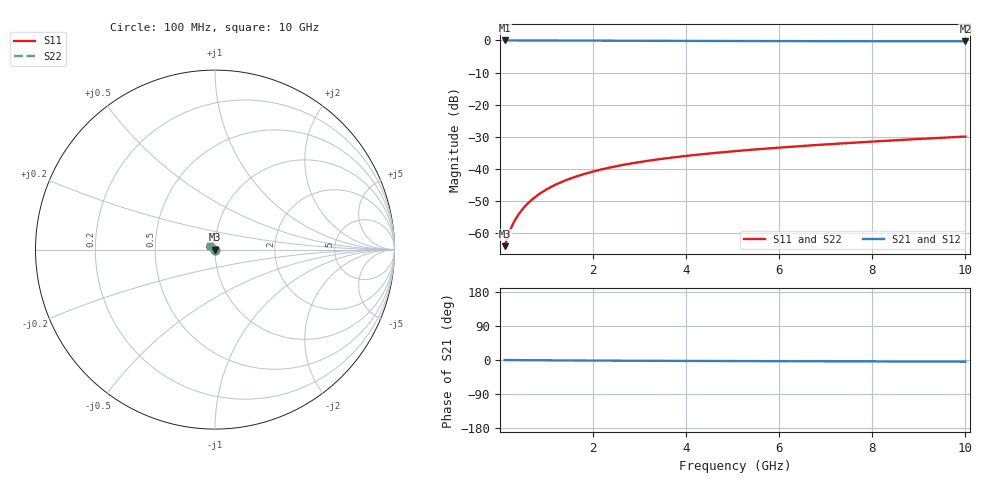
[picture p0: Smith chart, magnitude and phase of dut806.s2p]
! Touchstone file exported from HFSS 2024.1.0
!  File:  C:/UserFiles/LocalFiles/RDL_TSV_Batchsim/temp_TSV1_806_1779876929.aedt
!  Generated:  06:20:06 PM May 27, 2026
!  Design:  TSV1
!  Project:  temp_TSV1_806_1779876929
!  Setup:  Setup1
!  Solution:  Sweep
! Variables:
!  dtsv = 5.48um
!  hbump = 3um
!  htsv = 63.52um
!  lrdl = 252.1521522um
!  p = 40
!  p1 = 47.36um
!  t = 500um
!  trdl = 3um
!  wrdl = 24.89489489um
# GHz S MA R 50.000000
! Terminal data exported
! Port[1] = TSV22_T1
! Port[2] = TSV22_T2
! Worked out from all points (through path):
!   100 points, 100 MHz to 10 GHz, reference 50 ohm
!   highest |S21| = 0.00 dB at 100 MHz (marker M1); lowest = -0.3 dB at 10 GHz (marker M2)
!   lowest |S11| = -64.1 dB at 100 MHz (marker M3), VSWR 1.00, Z = 50 - j0.0491 ohm
!   |S11| at or under -10 dB: start of sweep to end of sweep
!   |S22| runs from -64.1 to -30.0 dB; largest |S21 - S12| = 4.4e-15
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0.1  0.0006225 -52.0  0.9996 -0.1  0.9996 -0.1  0.0006225 -52.0
! Gamma 0 0 0 0
! Port Impedance 50 0 50 0
0.2  0.001031 -71.9  0.9995 -0.2  0.9995 -0.2  0.001031 -71.9
0.3  0.001484 -81.6  0.9994 -0.3  0.9994 -0.3  0.001484 -81.6
0.4  0.00195 -87.7  0.9992 -0.3  0.9992 -0.3  0.00195 -87.7
0.5  0.002422 -92.3  0.9991 -0.4  0.9991 -0.4  0.002422 -92.3
0.6  0.002895 -96.1  0.9988 -0.5  0.9988 -0.5  0.002895 -96.1
0.7  0.003368 -99.4  0.9986 -0.6  0.9986 -0.6  0.003368 -99.4
0.8  0.003837 -102.4  0.9983 -0.7  0.9983 -0.7  0.003837 -102.4
0.9  0.004303 -105.2  0.998 -0.7  0.998 -0.7  0.004303 -105.2
1.1  0.005221 -110.4  0.9973 -0.9  0.9973 -0.9  0.005221 -110.4
1.4  0.006557 -117.6  0.996 -1.1  0.996 -1.1  0.006557 -117.6
1.6  0.007417 -122.0  0.9951 -1.2  0.9951 -1.2  0.007417 -122.0
1.8  0.008251 -126.3  0.9942 -1.4  0.9942 -1.4  0.008251 -126.3
2.1  0.009452 -132.4  0.9927 -1.6  0.9927 -1.6  0.009452 -132.4
2.5  0.01096 -140.0  0.9906 -1.8  0.9906 -1.8  0.01096 -140.0
2.9  0.01238 -147.0  0.9885 -2.0  0.9885 -2.0  0.01238 -147.0
3.4  0.01403 -155.1  0.9861 -2.2  0.9861 -2.2  0.01403 -155.1
4.2  0.01645 -166.6  0.9826 -2.5  0.9826 -2.5  0.01645 -166.6
5.1  0.01897 -177.6  0.9793 -2.9  0.9793 -2.9  0.01897 -177.6
6.7  0.02318 166.8  0.975 -3.4  0.975 -3.4  0.02318 166.8
8.4  0.02757 154.3  0.9719 -3.9  0.9719 -3.9  0.02757 154.3
10  0.03177 145.2  0.9698 -4.4  0.9698 -4.4  0.03177 145.2
